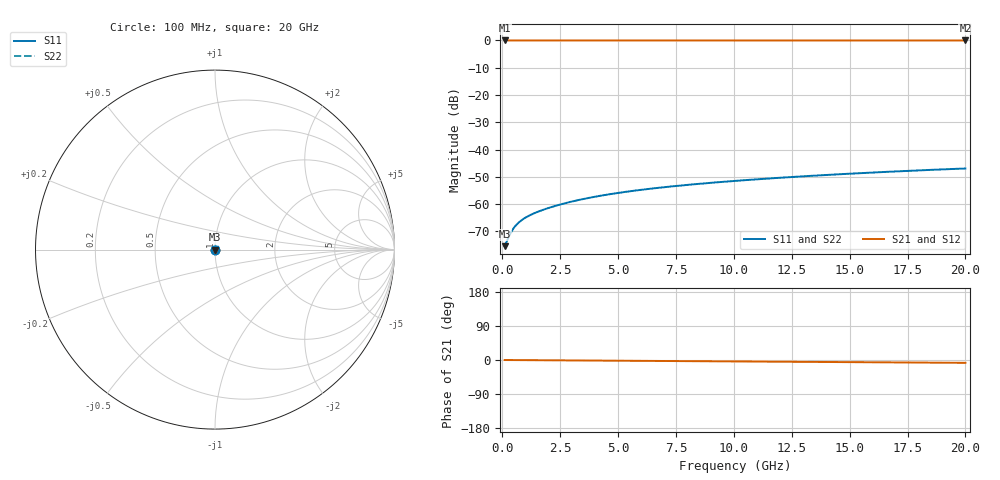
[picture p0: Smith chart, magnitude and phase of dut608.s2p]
! Touchstone file exported from HFSS 2026.1.0
!  File:  C:/ffzhzh/LocalFiles/Ansys_Project_Files/temp_train_TSV_608_1783025617_46388.aedt
!  Generated:  04:55:16 AM Jul  3, 2026
!  Design:  TSV
!  Project:  temp_train_TSV_608_1783025617_46388
! Variables:
!  h_bsmrdl = 2um
!  h_ox = 20um
!  h_rdl = 5um
!  h_sub = 76.02um
!  h_tmrdl = 5um
!  h_tsv = 76.02um
!  h_via = 3um
!  l_bsmrdl = 300um
!  l_sub = 417.26um
!  l_tmrdl = 200um
!  m_sub = 200um
!  pitch = 36.29um
!  r_tsv = 8.63um
!  s_tmrdl = 10um
!  w_bsmrdl = 18um
!  w_sub = 500um
!  w_tmrdl = 12um
!  x_tsv_center1 = 206um
!  x_tsv_center2 = 524um
!  x_tsv_center3 = 736um
!  x_tsv_center4 = 1054um
!  x_tsv_center5 = 1266um
!  x_tsv_center6 = 1584um
# GHz S MA R 50.000000
! Terminal data exported
! Port[1] = TSV1_1_T1
! Port[2] = TSV1_1_T2
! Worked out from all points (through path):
!   200 points, 100 MHz to 20 GHz, reference 50 ohm
!   highest |S21| = 0.00 dB at 100 MHz (marker M1); lowest = 0.0 dB at 20 GHz (marker M2)
!   group delay of S21, straight-line fit = 1.04 ps
!   lowest |S11| = -75.5 dB at 100 MHz (marker M3), VSWR 1.00, Z = 50 + j0.00654 ohm
!   |S11| at or under -10 dB: start of sweep to end of sweep
!   |S22| runs from -75.5 to -47.0 dB; largest |S21 - S12| = 3.2e-15
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0.1  0.0001688 22.8  0.9998 -0.0  0.9998 -0.0  0.0001688 22.8
! Gamma 0 0 0 0
! Port Impedance 50 0 50 0
0.3  0.0002627 44.8  0.9998 -0.1  0.9998 -0.1  0.0002627 44.8
0.4  0.0003154 48.6  0.9998 -0.2  0.9998 -0.2  0.0003154 48.6
0.5  0.0003655 50.6  0.9998 -0.2  0.9998 -0.2  0.0003655 50.6
0.6  0.0004119 51.6  0.9997 -0.2  0.9997 -0.2  0.0004119 51.6
0.7  0.0004543 52.1  0.9997 -0.3  0.9997 -0.3  0.0004543 52.1
0.8  0.0004933 52.5  0.9997 -0.3  0.9997 -0.3  0.0004933 52.5
1  0.0005632 53.2  0.9997 -0.4  0.9997 -0.4  0.0005632 53.2
1.2  0.0006257 53.8  0.9996 -0.5  0.9996 -0.5  0.0006257 53.8
1.4  0.000684 54.6  0.9996 -0.5  0.9996 -0.5  0.000684 54.6
2  0.000848 57.0  0.9995 -0.8  0.9995 -0.8  0.000848 57.0
2.7  0.001033 59.1  0.9995 -1.0  0.9995 -1.0  0.001033 59.1
3.5  0.001237 60.7  0.9994 -1.3  0.9994 -1.3  0.001237 60.7
4.2  0.00141 61.6  0.9994 -1.6  0.9994 -1.6  0.00141 61.6
5  0.001599 62.3  0.9993 -1.9  0.9993 -1.9  0.001599 62.3
5.9  0.001802 62.8  0.9992 -2.2  0.9992 -2.2  0.001801 62.8
6.8  0.001996 63.2  0.9992 -2.6  0.9992 -2.6  0.001996 63.2
8.3  0.002308 63.7  0.9991 -3.1  0.9991 -3.1  0.002307 63.7
10.1  0.002667 64.2  0.999 -3.8  0.999 -3.8  0.002667 64.2
13.4  0.003302 64.7  0.9989 -5.0  0.9989 -5.0  0.003301 64.7
16.7  0.003911 64.6  0.9987 -6.3  0.9987 -6.3  0.00391 64.6
20  0.004491 64.2  0.9986 -7.5  0.9986 -7.5  0.004491 64.2
